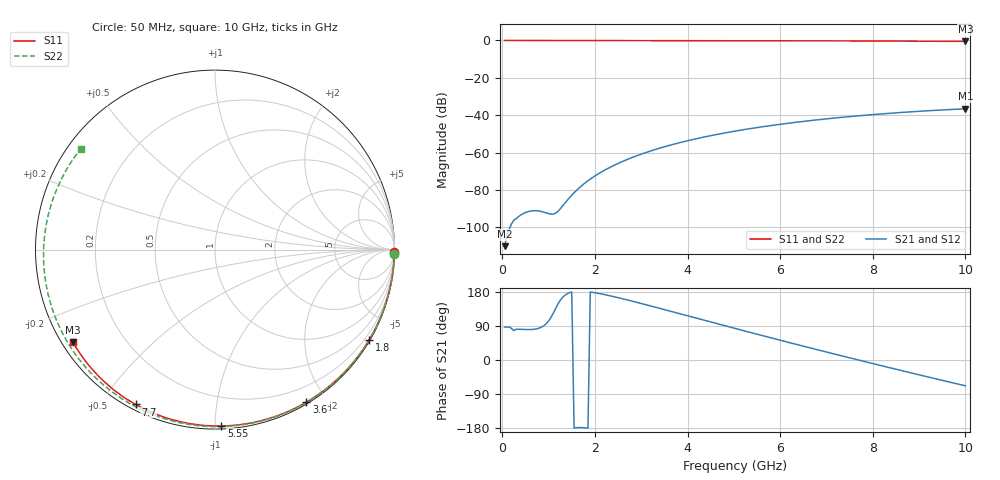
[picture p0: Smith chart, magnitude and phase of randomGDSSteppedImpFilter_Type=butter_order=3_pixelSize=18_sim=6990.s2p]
! freq	dB(S11)	phase(S11)	dB(S12)	phase(S12)
!  dB(S21)	phase(S21)	dB(S22)	phase(S22)
!S-par simulation data
#  GHz  S  DB  R 50
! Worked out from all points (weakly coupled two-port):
!   200 points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, 50 MHz to 10 GHz, reference 50 ohm
!   highest |S21| = -36.56 dB at 10 GHz (marker M1); lowest = -110.0 dB at 50 MHz (marker M2)
!   lowest |S11| = -0.5 dB at 10 GHz (marker M3), VSWR 35.06, Z = 1.55 - j14.8 ohm
!   |S11| at or under -10 dB: nowhere
!   |S22| runs from -0.6 to 0.0 dB; largest |S21 - S12| = 0
!   S11 on the Smith chart (normalised r, x): 50 MHz: open; 1.8 GHz: 0.03, -3.69; 3.6 GHz: 0.02, -1.77; 5.55 GHz: 0.02, -1.04; 7.7 GHz: 0.02, -0.61; 10 GHz: 0.03, -0.30
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0.05  -0.00 -0.9  -110.05 87.0  -110.05 87.0  -0.00 -1.3
0.4  -0.01 -6.8  -93.34 81.0  -93.34 81.0  -0.01 -10.6
0.8  -0.02 -13.6  -91.26 84.3  -91.26 84.3  -0.03 -21.1
1.2  -0.03 -20.3  -91.46 147.4  -91.46 147.4  -0.04 -31.5
1.6  -0.03 -27.0  -80.23 -178.6  -80.23 -178.6  -0.05 -41.7
1.75  -0.04 -29.5  -76.96 -178.6  -76.96 -178.6  -0.06 -45.5
1.8  -0.04 -30.3  -75.98 -179.1  -75.98 -179.1  -0.06 -46.7
2.1  -0.04 -35.2  -70.95 175.3  -70.95 175.3  -0.07 -54.1
2.5  -0.05 -41.7  -65.79 164.5  -65.79 164.5  -0.08 -63.8
2.9  -0.06 -48.1  -61.71 152.3  -61.71 152.3  -0.09 -73.2
3.4  -0.07 -56.0  -57.60 136.3  -57.60 136.3  -0.11 -84.6
3.6  -0.08 -59.1  -56.18 129.8  -56.18 129.8  -0.12 -89.0
4.3  -0.10 -69.7  -51.97 106.9  -51.97 106.9  -0.14 -104.1
5.05  -0.12 -80.7  -48.40 82.6  -48.40 82.6  -0.18 -119.6
5.55  -0.14 -87.9  -46.41 66.5  -46.41 66.5  -0.20 -129.5
6.15  -0.17 -96.3  -44.36 47.5  -44.36 47.5  -0.24 -141.2
6.7  -0.20 -103.8  -42.74 30.3  -42.74 30.3  -0.28 -151.8
7.2  -0.23 -110.6  -41.44 14.8  -41.44 14.8  -0.32 -161.3
7.7  -0.27 -117.2  -40.29 -0.4  -40.29 -0.4  -0.36 -170.9
8.35  -0.32 -125.7  -38.99 -19.9  -38.99 -19.9  -0.42 176.6
9.2  -0.40 -136.7  -37.59 -45.0  -37.59 -45.0  -0.50 159.7
10  -0.50 -147.0  -36.56 -68.1  -36.56 -68.1  -0.58 143.0
